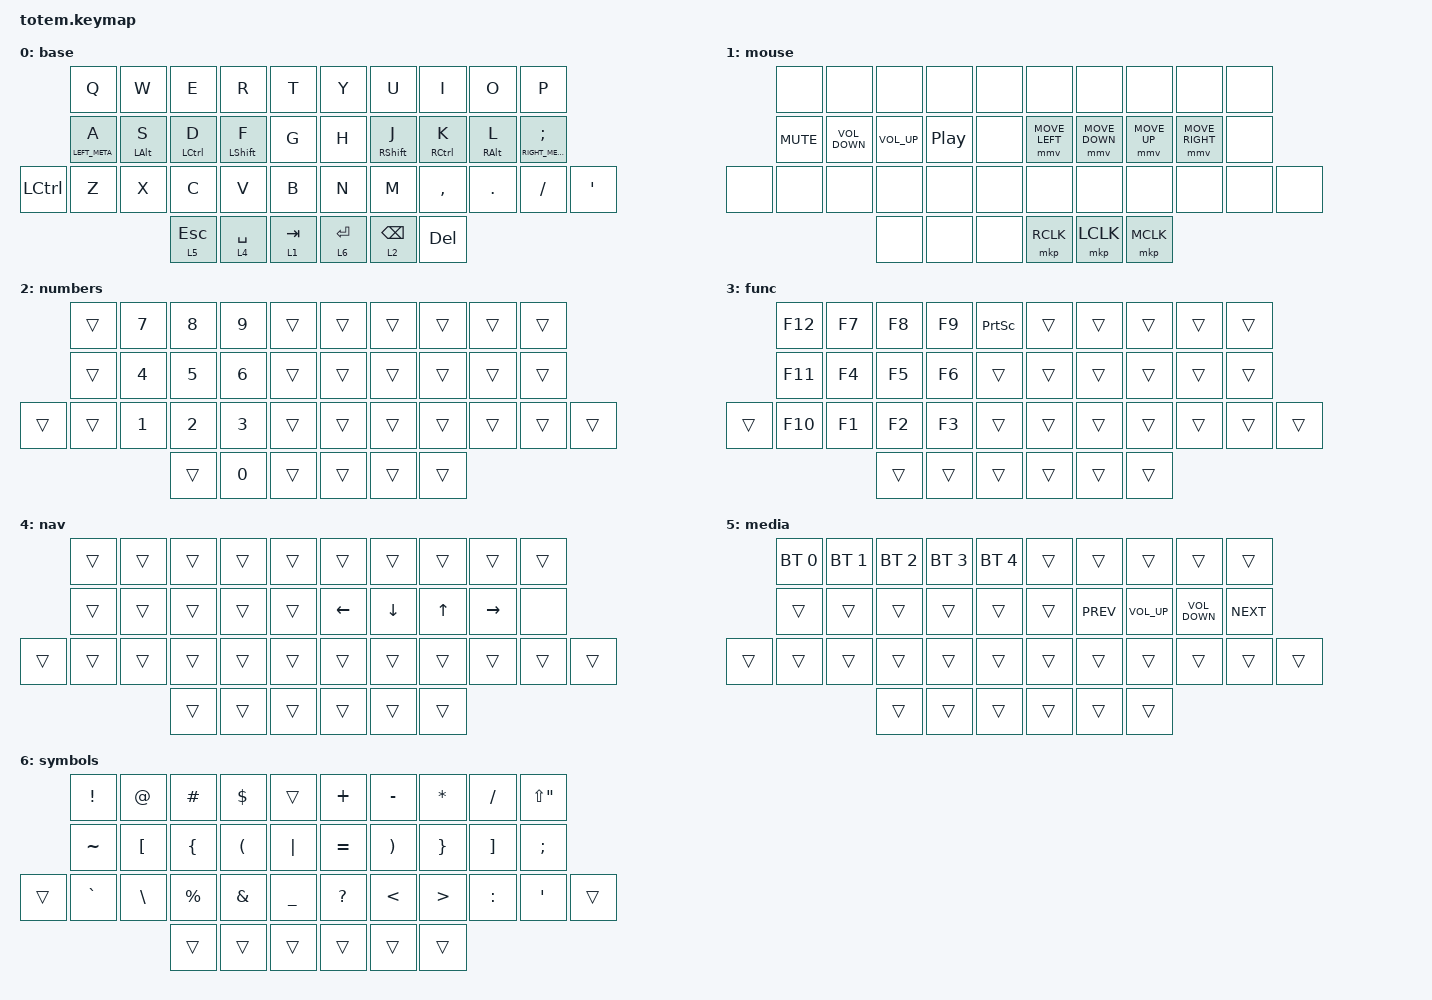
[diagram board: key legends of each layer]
//
//                                                        ▀▀▀▀▀     ▀▀▀▀▀          ▀▀█▀▀
//                                                        ▄▀▀▀▄  ▄  ▄▀▀▀▄  ▄  ▄▀▀▀▄  █  ▄▀▀▀▄
//                                                        █   █  █  █   █  █  █   █  █  █   █
//                                                         ▀▀▀   █   ▀▀▀   █   ▀▀▀   ▀   ▀▀▀
//                                                               █      ▄▄▄█▄▄▄    █   █  
//                                                               ▀      █  █  █     █▄█
//                                                             ▀▀▀▀▀    █  █  █      ▀
//                                                                      ▀  ▀  ▀
//
// ▄▄▄▄▄▄▄▄▄▄▄▄▄▄▄▄▄▄▄▄▄▄▄▄▄▄▄▄▄▄▄▄▄▄▄▄▄▄▄▄▄▄▄▄▄▄▄▄▄▄▄▄▄▄▄▄▄▄▄▄▄▄▄▄▄▄▄▄▄▄▄▄▄▄▄▄▄▄▄▄▄▄▄▄▄▄▄▄▄▄▄▄▄▄▄▄▄▄▄▄▄▄▄▄▄▄▄▄▄▄▄▄▄▄▄▄▄▄▄▄▄▄▄▄▄▄▄▄▄▄▄▄▄▄▄▄▄▄▄▄▄▄▄▄▄▄▄▄▄

#define ZMK_POINTING_DEFAULT_MOVE_VAL 750
#define ZMK_POINTING_DEFAULT_SCRL_VAL 12

#include <behaviors.dtsi>
#include <dt-bindings/zmk/bt.h>
#include <dt-bindings/zmk/keys.h>
#include <dt-bindings/zmk/pointing.h>

/ {
    behaviors {
        hml: homerow_mods_left {
            compatible = "zmk,behavior-hold-tap";
            #binding-cells = <2>;
            flavor = "balanced";
            tapping-term-ms = <280>;
            quick-tap-ms = <175>;
            require-prior-idle-ms = <150>;
            bindings = <&kp>, <&kp>;
            hold-trigger-key-positions = <5 6 7 8 9 15 16 17 18 19 25 26 27 28 29 32 33>;
            hold-trigger-on-release;
        };
        
        hmr: homerow_mods_right {
            compatible = "zmk,behavior-hold-tap";
            #binding-cells = <2>;
            flavor = "balanced";
            tapping-term-ms = <280>;
            quick-tap-ms = <175>;
            require-prior-idle-ms = <150>;
            bindings = <&kp>, <&kp>;
            hold-trigger-key-positions = <0 1 2 3 4 10 11 12 13 14 20 21 22 23 24 30 31>;
            hold-trigger-on-release;
        };
    };

    combos {
        compatible = "zmk,combos";

        right_arrow {
            bindings = <&kp RIGHT_ARROW>;
            key-positions = <26 27>;
        };

        left_arrow {
            bindings = <&kp LEFT>;
            key-positions = <24 25>;
        };
    };

    keymap {
        compatible = "zmk,keymap";

        base {
            bindings = <
           &kp Q            &kp W           &kp E         &kp R             &kp T        &kp Y        &kp U              &kp I                &kp O            &kp P
           &hml LEFT_META A  &hml LEFT_ALT S  &hml LCTRL D   &hml LEFT_SHIFT F  &kp G        &kp H        &hmr RIGHT_SHIFT J  &hmr RIGHT_CONTROL K  &hmr RIGHT_ALT L  &hmr RIGHT_META SEMI
&kp LCTRL  &kp Z            &kp X           &kp C         &kp V             &kp B        &kp N        &kp M              &kp COMMA            &kp DOT          &kp FSLH             &kp APOS
                                            &lt 5 ESCAPE  &lt 4 SPACE       &lt 1 TAB    &lt 6 ENTER  &lt 2 BACKSPACE    &kp DELETE
            >;
        };

        mouse {
            bindings = <
       &none       &none              &none            &none             &none    &none           &none           &none         &none            &none
       &kp K_MUTE  &kp C_VOLUME_DOWN  &kp C_VOLUME_UP  &kp C_PLAY_PAUSE  &none    &mmv MOVE_LEFT  &mmv MOVE_DOWN  &mmv MOVE_UP  &mmv MOVE_RIGHT  &none
&none  &none       &none              &none            &none             &none    &none           &none           &none         &none            &none  &none
                                      &none            &none             &none    &mkp RCLK       &mkp LCLK       &mkp MCLK
            >;
        };

        numbers {
            bindings = <
        &trans  &kp N7  &kp N8  &kp N9  &trans    &trans  &trans  &trans  &trans  &trans
        &trans  &kp N4  &kp N5  &kp N6  &trans    &trans  &trans  &trans  &trans  &trans
&trans  &trans  &kp N1  &kp N2  &kp N3  &trans    &trans  &trans  &trans  &trans  &trans  &trans
                        &trans  &kp N0  &trans    &trans  &trans  &trans
            >;
        };

        func {
            bindings = <
        &kp F12  &kp F7  &kp F8  &kp F9  &kp PRINTSCREEN    &trans  &trans  &trans  &trans  &trans
        &kp F11  &kp F4  &kp F5  &kp F6  &trans             &trans  &trans  &trans  &trans  &trans
&trans  &kp F10  &kp F1  &kp F2  &kp F3  &trans             &trans  &trans  &trans  &trans  &trans  &trans
                         &trans  &trans  &trans             &trans  &trans  &trans
            >;
        };

        nav {
            bindings = <
        &trans  &trans  &trans  &trans  &trans    &trans    &trans          &trans        &trans     &trans
        &trans  &trans  &trans  &trans  &trans    &kp LEFT  &kp DOWN_ARROW  &kp UP_ARROW  &kp RIGHT  &none
&trans  &trans  &trans  &trans  &trans  &trans    &trans    &trans          &trans        &trans     &trans  &trans
                        &trans  &trans  &trans    &trans    &trans          &trans
            >;
        };

        media {
            bindings = <
        &bt BT_SEL 0  &bt BT_SEL 1  &bt BT_SEL 2  &bt BT_SEL 3  &bt BT_SEL 4    &trans  &trans      &trans           &trans             &trans
        &trans        &trans        &trans        &trans        &trans          &trans  &kp C_PREV  &kp C_VOLUME_UP  &kp C_VOLUME_DOWN  &kp C_NEXT
&trans  &trans        &trans        &trans        &trans        &trans          &trans  &trans      &trans           &trans             &trans      &trans
                                    &trans        &trans        &trans          &trans  &trans      &trans
            >;
        };

        symbols {
            bindings = <
        &kp EXCLAMATION  &kp AT            &kp HASH        &kp DOLLAR            &trans       &kp PLUS      &kp MINUS              &kp ASTERISK      &kp SLASH          &kp LS(DOUBLE_QUOTES)
        &kp TILDE        &kp LEFT_BRACKET  &kp LEFT_BRACE  &kp LEFT_PARENTHESIS  &kp PIPE     &kp EQUAL     &kp RIGHT_PARENTHESIS  &kp RIGHT_BRACE   &kp RIGHT_BRACKET  &kp SEMICOLON
&trans  &kp GRAVE        &kp BACKSLASH     &kp PERCENT     &kp AMPERSAND         &kp UNDER    &kp QUESTION  &kp LESS_THAN          &kp GREATER_THAN  &kp COLON          &kp SQT                &trans
                                           &trans          &trans                &trans       &trans        &trans                 &trans
            >;
        };
    };

    conditional_layers {
        compatible = "zmk,conditional-layers";

        device {
            if-layers = <1 1>;
            then-layer = <1>;
        };
    };
};
